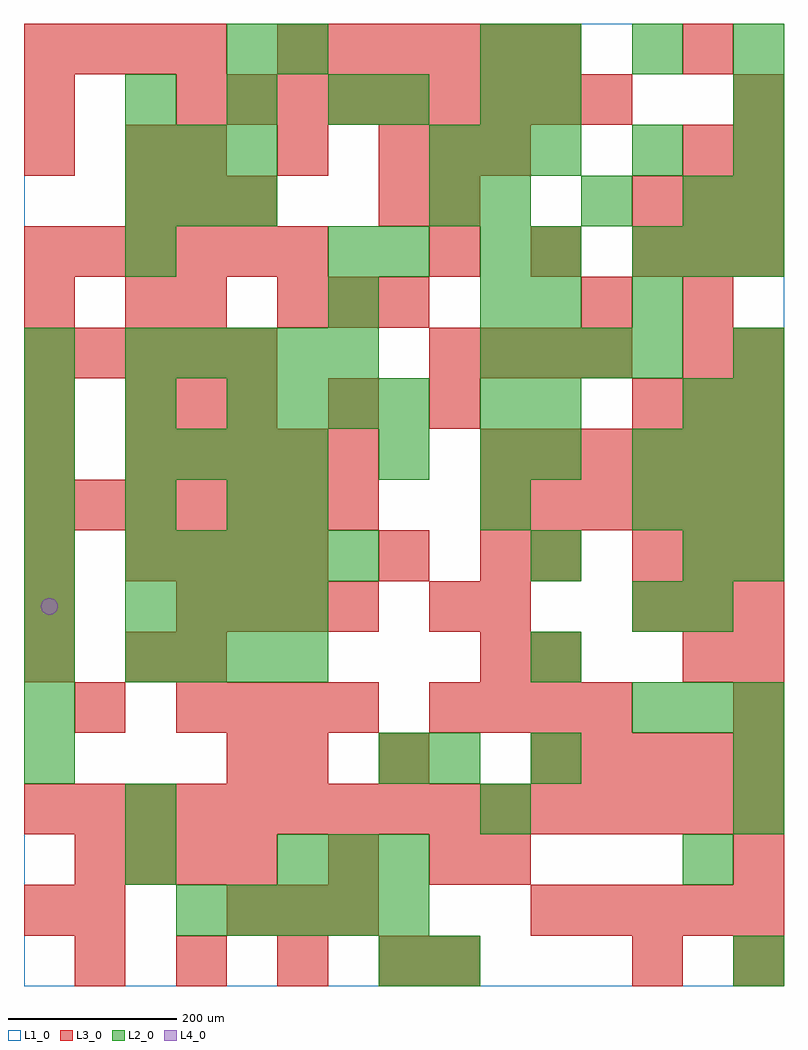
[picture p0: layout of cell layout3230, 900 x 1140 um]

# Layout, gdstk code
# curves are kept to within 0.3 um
import gdstk
lib = gdstk.Library(unit=1e-6, precision=1e-09)
def R(c, l, rs):  # rectangles x0, y0, x1, y1
    for r in rs: c.add(gdstk.rectangle(r[:2], r[2:], *l))
def A(c, l, x, y, w, h, nx, ny, dx, dy):  # array of equal rectangles
    R(c, l, [(x+i*dx, y+j*dy, x+i*dx+w, y+j*dy+h) for i in range(nx) for j in range(ny)])
def P(c, l, *ps):  # polygons
    for p in ps: c.add(gdstk.Polygon(p, *l))
L1_0 = (1, 0)
L2_0 = (2, 0)
L3_0 = (3, 0)
L4_0 = (4, 0)

layout3230 = lib.new_cell('layout3230')
R(layout3230, L1_0, [(0,0,900,1140)])
A(layout3230, L2_0, 180, 60, 60, 60, 5, 1, 60, 0)
A(layout3230, L2_0, 300, 120, 60, 60, 3, 2, 60, 540)
A(layout3230, L2_0, 0, 240, 60, 60, 1, 5, 0, 60)
A(layout3230, L2_0, 600, 240, 60, 60, 1, 4, 0, 120)
A(layout3230, L2_0, 720, 300, 60, 60, 3, 2, 60, 240)
A(layout3230, L2_0, 120, 360, 60, 60, 4, 2, 60, 60)
A(layout3230, L2_0, 120, 480, 60, 60, 5, 2, 60, 240)
A(layout3230, L2_0, 0, 540, 60, 60, 3, 2, 120, 120)
A(layout3230, L2_0, 540, 540, 60, 60, 1, 3, 0, 60)
A(layout3230, L2_0, 120, 600, 60, 60, 4, 1, 60, 0)
A(layout3230, L2_0, 720, 600, 60, 60, 3, 2, 60, 240)
A(layout3230, L2_0, 540, 720, 60, 60, 4, 1, 60, 0)
A(layout3230, L2_0, 120, 900, 60, 60, 3, 2, 60, 60)
A(layout3230, L2_0, 540, 900, 60, 60, 3, 1, 120, 0)
A(layout3230, L2_0, 840, 900, 60, 60, 1, 3, 0, 60)
A(layout3230, L2_0, 480, 960, 60, 60, 3, 1, 60, 0)
A(layout3230, L2_0, 120, 1020, 60, 60, 3, 1, 120, 0)
A(layout3230, L2_0, 600, 1080, 60, 60, 3, 1, 120, 0)
R(layout3230, L2_0, [(420,0,480,60), (480,0,540,60), (840,0,900,60), (120,120,180,180), (780,120,840,180), (120,180,180,240), (540,180,600,240), (840,180,900,240), (420,240,480,300), (480,240,540,300), (840,240,900,300), (720,420,780,480), (780,420,840,480), (780,480,840,540), (840,480,900,540), (300,540,360,600), (0,600,60,660), (420,600,480,660), (600,660,660,720), (780,660,840,720), (840,660,900,720), (0,720,60,780), (840,720,900,780), (360,780,420,840), (540,780,600,840), (600,780,660,840), (720,780,780,840), (120,840,180,900), (360,840,420,900), (420,840,480,900), (540,840,600,900), (600,840,660,900), (480,900,540,960), (720,960,780,1020), (420,1020,480,1080), (540,1020,600,1080), (600,1020,660,1080), (240,1080,300,1140), (300,1080,360,1140), (540,1080,600,1140)])
A(layout3230, L3_0, 60, 0, 60, 60, 4, 1, 120, 0)
A(layout3230, L3_0, 240, 60, 60, 60, 3, 1, 60, 0)
A(layout3230, L3_0, 600, 60, 60, 60, 5, 2, 60, 180)
A(layout3230, L3_0, 60, 120, 60, 60, 4, 1, 60, 0)
A(layout3230, L3_0, 0, 180, 60, 60, 15, 1, 60, 0)
A(layout3230, L3_0, 180, 300, 60, 60, 4, 2, 60, 120)
A(layout3230, L3_0, 480, 300, 60, 60, 4, 2, 60, 420)
A(layout3230, L3_0, 0, 360, 60, 60, 1, 3, 0, 60)
A(layout3230, L3_0, 540, 360, 60, 60, 1, 3, 0, 60)
A(layout3230, L3_0, 480, 420, 60, 60, 1, 3, 0, 240)
A(layout3230, L3_0, 720, 420, 60, 60, 3, 2, 60, 60)
A(layout3230, L3_0, 120, 480, 60, 60, 4, 1, 60, 0)
A(layout3230, L3_0, 0, 540, 60, 60, 7, 1, 60, 0)
A(layout3230, L3_0, 540, 540, 60, 60, 6, 2, 60, 60)
A(layout3230, L3_0, 120, 600, 60, 60, 5, 1, 60, 0)
A(layout3230, L3_0, 120, 660, 60, 60, 3, 2, 60, 240)
A(layout3230, L3_0, 720, 660, 60, 60, 3, 2, 60, 240)
A(layout3230, L3_0, 0, 720, 60, 60, 5, 1, 60, 0)
A(layout3230, L3_0, 780, 720, 60, 60, 1, 3, 0, 60)
A(layout3230, L3_0, 840, 720, 60, 60, 1, 3, 0, 120)
A(layout3230, L3_0, 300, 780, 60, 60, 3, 1, 60, 0)
A(layout3230, L3_0, 0, 840, 60, 60, 6, 1, 60, 0)
A(layout3230, L3_0, 480, 840, 60, 60, 3, 1, 120, 0)
A(layout3230, L3_0, 180, 960, 60, 60, 3, 1, 120, 0)
A(layout3230, L3_0, 180, 1020, 60, 60, 9, 1, 60, 0)
A(layout3230, L3_0, 0, 1080, 60, 60, 4, 1, 60, 0)
A(layout3230, L3_0, 300, 1080, 60, 60, 6, 1, 60, 0)
R(layout3230, L3_0, [(480,0,540,60), (720,0,780,60), (840,0,900,60), (0,60,60,120), (60,60,120,120), (360,120,420,180), (480,120,540,180), (540,120,600,180), (840,120,900,180), (240,240,300,300), (300,240,360,300), (420,240,480,300), (60,300,120,360), (840,300,900,360), (120,360,180,420), (180,360,240,420), (600,360,660,420), (780,360,840,420), (840,360,900,420), (420,480,480,540), (600,480,660,540), (0,600,60,660), (0,660,60,720), (360,660,420,720), (0,780,60,840), (120,780,180,840), (180,780,240,840), (660,780,720,840), (420,900,480,960), (0,960,60,1020), (120,960,180,1020), (480,960,540,1020), (540,960,600,1020), (780,960,840,1020), (0,1020,60,1080), (840,1020,900,1080), (780,1080,840,1140)])
P(layout3230, L4_0, [(40,450),(39.239,453.827),(37.071,457.071),(33.827,459.239),(30,460),(26.173,459.239),(22.929,457.071),(20.761,453.827),(20,450),(20.761,446.173),(22.929,442.929),(26.173,440.761),(30,440),(33.827,440.761),(37.071,442.929),(39.239,446.173)])

lib.write_gds('layout3230.gds')
